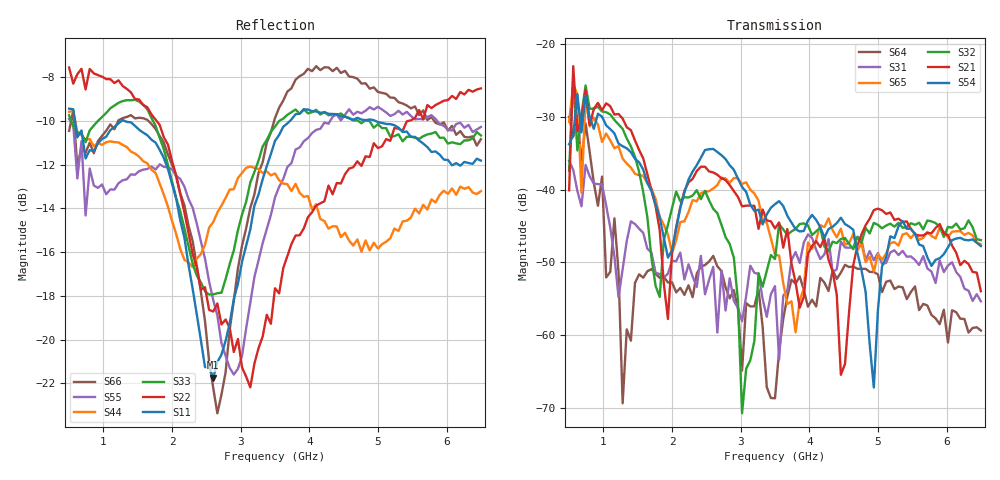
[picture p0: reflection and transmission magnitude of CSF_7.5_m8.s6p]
!Keysight Technologies,M9804A,MY58100912,A.14.10.03
!Date: Thursday, April 27, 2023 10:28:33
!Correction: S11(C  6-Port  )
!S12(C  6-Port  )
!S13(C  6-Port  )
!S14(C  6-Port  )
!S15(C  6-Port  )
!S16(C  6-Port  )
!S21(C  6-Port  )
!S22(C  6-Port  )
!S23(C  6-Port  )
!S24(C  6-Port  )
!S25(C  6-Port  )
!S26(C  6-Port  )
!S31(C  6-Port  )
!S32(C  6-Port  )
!S33(C  6-Port  )
!S34(C  6-Port  )
!S35(C  6-Port  )
!S36(C  6-Port  )
!S41(C  6-Port  )
!S42(C  6-Port  )
!S43(C  6-Port  )
!S44(C  6-Port  )
!S45(C  6-Port  )
!S46(C  6-Port  )
!S51(C  6-Port  )
!S52(C  6-Port  )
!S53(C  6-Port  )
!S54(C  6-Port  )
!S55(C  6-Port  )
!S56(C  6-Port  )
!S61(C  6-Port  )
!S62(C  6-Port  )
!S63(C  6-Port  )
!S64(C  6-Port  )
!S65(C  6-Port  )
!S66(C  6-Port  )
!S6P File: Measurement: :
# Hz S  RI  R 50
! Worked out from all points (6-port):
!   101 points, 500 MHz to 6.5 GHz, reference 50 ohm
!   strongest paths, dB at 500 MHz, 2 GHz, 3.5 GHz, 5 GHz, 6.5 GHz:
!     S54: -33.8, -48.3, -42.0, -56.5, -47.8
!     S21: -40.1, -48.6, -45.3, -42.6, -54.0
!     S32: -37.4, -42.5, -49.5, -44.9, -47.0
!     S65: -30.7, -48.7, -48.9, -48.9, -47.5
!     S31: -36.0, -49.8, -53.3, -48.7, -55.4
!     S64: -30.0, -52.8, -68.7, -51.7, -59.4
!   lowest |S11| = -21.7 dB at 2.6 GHz (marker M1), VSWR 1.18, Z = 42.7 + j1.98 ohm
!   |S11| at or under -10 dB: 584.5 MHz to 1.268 GHz (683.3 MHz wide, 73.8 % of centre); 1.302 GHz to 3.72 GHz (2.418 GHz wide, 96.3 % of centre); 4.956 GHz to end of sweep
